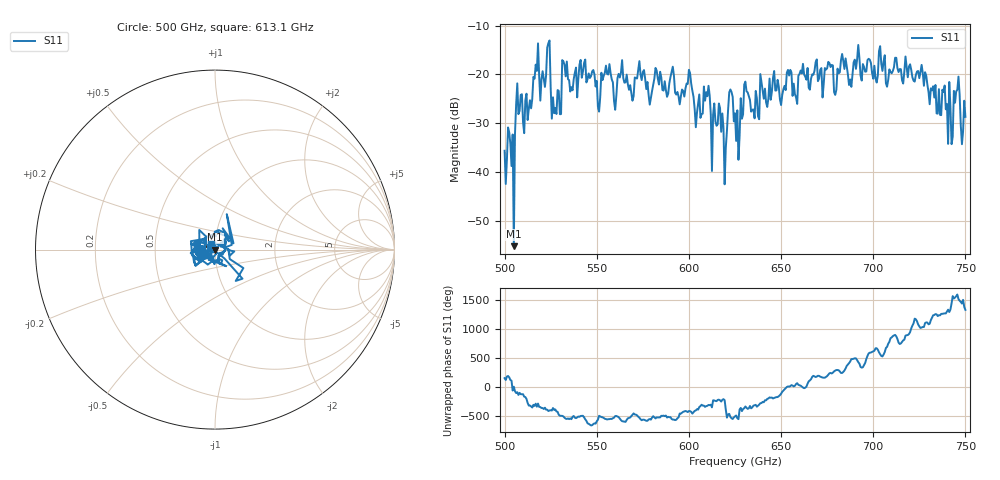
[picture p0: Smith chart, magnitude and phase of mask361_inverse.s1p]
!Created with skrf (http://scikit-rf.org).
# GHz S MA R 50.0
!freq magS11 angS11
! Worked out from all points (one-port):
!   401 points, 500 GHz to 750 GHz, reference 50 ohm
!   lowest |S11| = -55.2 dB at 505 GHz (marker M1), VSWR 1.00, Z = 50.2 + j0.0072 ohm
!   |S11| at or under -10 dB: start of sweep to end of sweep
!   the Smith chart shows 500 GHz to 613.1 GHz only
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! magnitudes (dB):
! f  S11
! 500 GHz  -35.6
! 505 GHz  -55.2
! 507.5 GHz  -28.1
! 513.8 GHz  -25.3
! 516.9 GHz  -18.0
! 520.6 GHz  -19.3
! 523.8 GHz  -13.6
! 526.9 GHz  -27.9
! 531.2 GHz  -17.1
! 542.5 GHz  -19.4
! 550.6 GHz  -26.6
! 556.2 GHz  -20.0
! 559.4 GHz  -25.5
! 562.5 GHz  -20.6
! 593.8 GHz  -23.6
! 609.4 GHz  -23.6
! 618.8 GHz  -30.9
! 622.5 GHz  -23.1
! 625 GHz  -28.0
! 628.1 GHz  -24.9
! 631.2 GHz  -23.5
! 634.4 GHz  -27.2
! 656.2 GHz  -24.4
! 683.8 GHz  -17.2
! 687.5 GHz  -21.0
! 691.2 GHz  -16.9
! 718.8 GHz  -20.6
! 750 GHz  -28.7
